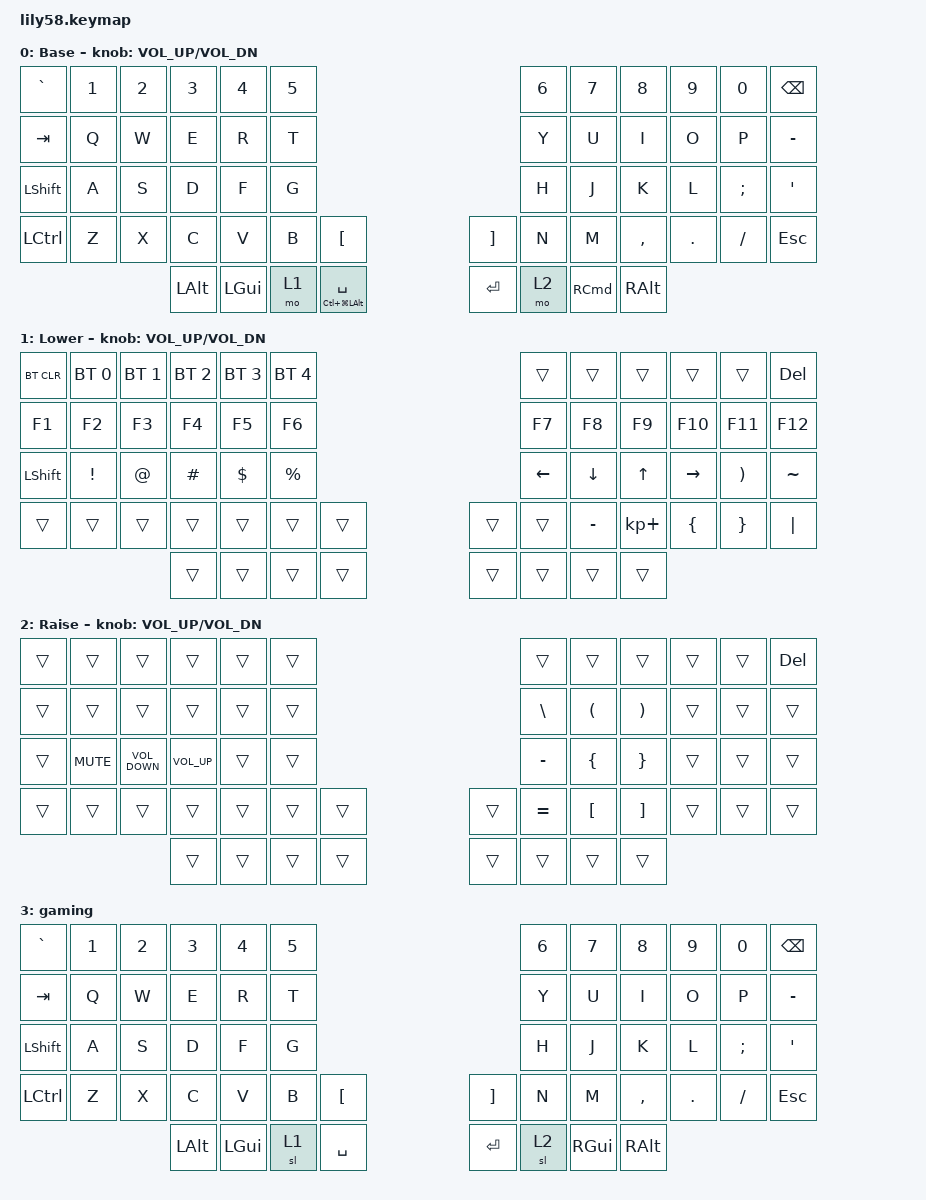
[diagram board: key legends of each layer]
/*
 * Copyright (c) 2020 The ZMK Contributors
 *
 * SPDX-License-Identifier: MIT
 */

#include <behaviors.dtsi>
#include <dt-bindings/zmk/bt.h>
#include <dt-bindings/zmk/keys.h>

&mt {
    tapping-term-ms = <300>;
    flavor = "balanced";
};

/ {
    combos {
        compatible = "zmk,combos";

        base {
            bindings = <&tog 0>;
            key-positions = <55 52>;
            layers = <3>;
        };

        gaming {
            bindings = <&tog 3>;
            key-positions = <52 55>;
            layers = <0>;
        };
    };

    keymap {
        compatible = "zmk,keymap";

        default_layer {
            // ------------------------------------------------------------------------------------------------------------
            // |  ESC  |  1  |  2  |  3   |  4   |  5   |                   |  6   |  7    |  8    |  9   |   0   |   `   |
            // |  TAB  |  Q  |  W  |  E   |  R   |  T   |                   |  Y   |  U    |  I    |  O   |   P   |   -   |
            // |  CTRL |  A  |  S  |  D   |  F   |  G   |                   |  H   |  J    |  K    |  L   |   ;   |   '   |
            // | SHIFT |  Z  |  X  |  C   |  V   |  B   |   "["  |  |  "]"  |  N   |  M    |  ,    |  .   |   /   | SHIFT |
            //                     | ALT  | GUI  | LOWER|  SPACE |  | ENTER | RAISE| BSPC  | GUI   |

            display-name = "Base";
            bindings = <
&kp GRAVE         &kp N1  &kp N2  &kp N3    &kp N4    &kp N5                                           &kp N6  &kp N7             &kp N8         &kp N9   &kp N0    &kp BACKSPACE
&kp TAB           &kp Q   &kp W   &kp E     &kp R     &kp T                                            &kp Y   &kp U              &kp I          &kp O    &kp P     &kp MINUS
&kp LEFT_SHIFT    &kp A   &kp S   &kp D     &kp F     &kp G                                            &kp H   &kp J              &kp K          &kp L    &kp SEMI  &kp SQT
&kp LEFT_CONTROL  &kp Z   &kp X   &kp C     &kp V     &kp B   &kp LBKT                      &kp RBKT   &kp N   &kp M              &kp COMMA      &kp DOT  &kp FSLH  &kp ESC
                                  &kp LALT  &kp LGUI  &mo 1   &mt LC(LG(LEFT_ALT)) SPACE    &kp ENTER  &mo 2   &kp RIGHT_COMMAND  &kp RIGHT_ALT
            >;

            sensor-bindings = <&inc_dec_kp C_VOL_UP C_VOL_DN>;
        };

        lower_layer {
            // ------------------------------------------------------------------------------------------------------------
            // | BTCLR | BT1 | BT2 |  BT3 |  BT4 |  BT5 |                   |      |       |       |      |       |       |
            // |  F1   |  F2 |  F3 |  F4  |  F5  |  F6  |                   |  F7  |  F8   |  F9   |  F10 |  F11  |  F12  |
            // |   `   |  !  |  @  |  #   |  $   |  %   |                   |  ^   |  &    |  *    |  (   |   )   |   ~   |
            // |       |     |     |      |      |      |        |  |       |      |  _    |  +    |  {   |   }   |  "|"  |
            //                     |      |      |      |        |  |       |      |       |       |

            display-name = "Lower";
            bindings = <
&bt BT_CLR      &bt BT_SEL 0  &bt BT_SEL 1  &bt BT_SEL 2  &bt BT_SEL 3  &bt BT_SEL 4                    &trans    &trans          &trans        &trans     &trans    &kp DELETE
&kp F1          &kp F2        &kp F3        &kp F4        &kp F5        &kp F6                          &kp F7    &kp F8          &kp F9        &kp F10    &kp F11   &kp F12
&kp LEFT_SHIFT  &kp EXCL      &kp AT        &kp HASH      &kp DOLLAR    &kp PRCNT                       &kp LEFT  &kp DOWN_ARROW  &kp UP_ARROW  &kp RIGHT  &kp RPAR  &kp TILDE
&trans          &trans        &trans        &trans        &trans        &trans        &trans    &trans  &trans    &kp MINUS       &kp KP_PLUS   &kp LBRC   &kp RBRC  &kp PIPE
                                            &trans        &trans        &trans        &trans    &trans  &trans    &trans          &trans
            >;

            sensor-bindings = <&inc_dec_kp C_VOL_UP C_VOL_DN>;
        };

        raise_layer {
            // ------------------------------------------------------------------------------------------------------------
            // |       |     |     |      |      |      |                   |      |       |       |      |       |       |
            // |   `   |  1  |  2  |  3   |  4   |  5   |                   |  6   |   7   |   8   |  9   |   0   |       |
            // |   F1  |  F2 |  F3 |  F4  |  F5  |  F6  |                   |      |   <-  |   v   |  ^   |  ->   |       |
            // |   F7  |  F8 |  F9 |  F10 |  F11 |  F12 |        |  |       |  +   |   -   |   =   |  [   |   ]   |   \   |
            //                     |      |      |      |        |  |       |      |       |       |

            display-name = "Raise";
            bindings = <
&trans  &trans      &trans             &trans           &trans  &trans                    &trans         &trans                &trans                 &trans  &trans  &kp DELETE
&trans  &trans      &trans             &trans           &trans  &trans                    &kp BACKSLASH  &kp LEFT_PARENTHESIS  &kp RIGHT_PARENTHESIS  &trans  &trans  &trans
&trans  &kp K_MUTE  &kp C_VOLUME_DOWN  &kp C_VOLUME_UP  &trans  &trans                    &kp MINUS      &kp LEFT_BRACE        &kp RIGHT_BRACE        &trans  &trans  &trans
&trans  &trans      &trans             &trans           &trans  &trans  &trans    &trans  &kp EQUAL      &kp LEFT_BRACKET      &kp RIGHT_BRACKET      &trans  &trans  &trans
                                       &trans           &trans  &trans  &trans    &trans  &trans         &trans                &trans
            >;

            sensor-bindings = <&inc_dec_kp C_VOL_UP C_VOL_DN>;
        };

        gaming {
            bindings = <
&kp GRAVE       &kp N1  &kp N2  &kp N3    &kp N4    &kp N5                         &kp N6  &kp N7    &kp N8     &kp N9   &kp N0    &kp BSPC
&kp TAB         &kp Q   &kp W   &kp E     &kp R     &kp T                          &kp Y   &kp U     &kp I      &kp O    &kp P     &kp MINUS
&kp LEFT_SHIFT  &kp A   &kp S   &kp D     &kp F     &kp G                          &kp H   &kp J     &kp K      &kp L    &kp SEMI  &kp SQT
&kp LCTRL       &kp Z   &kp X   &kp C     &kp V     &kp B   &kp LBKT     &kp RBKT  &kp N   &kp M     &kp COMMA  &kp DOT  &kp FSLH  &kp ESC
                                &kp LALT  &kp LGUI  &sl 1   &kp SPACE    &kp RET   &sl 2   &kp RGUI  &kp RALT
            >;

            label = "gaming";
        };
    };
};
